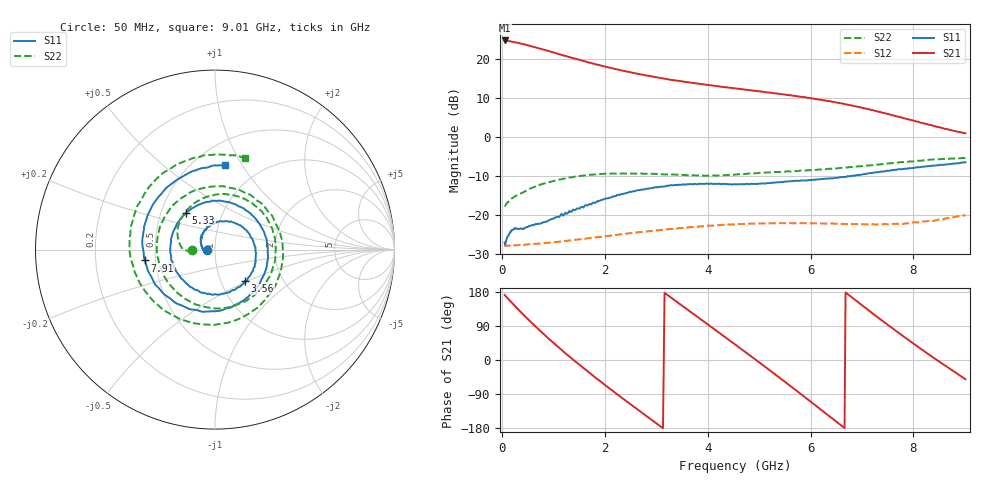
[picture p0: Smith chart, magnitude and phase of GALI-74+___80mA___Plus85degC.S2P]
! Mini-Circuits
! S2P DATA File Format
! Type: MMIC Amplifier
! Model: GALI-74+
! TEST CONDITIONS: INPUT POWER = -20dBm, Icc = 80mA, Vd = 4.70V @Temperature = +85degC
! 401 Frequency points
! S Parameters are in dB deg format
# MHz S DB R 50
!  FREQ  dB(S11)  PHS(S11)  dB(S21)  PHS(S21)  dB(S12)  PHS(S12)  dB(S22)  PHS(S22)
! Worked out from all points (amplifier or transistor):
!   401 points, 50 MHz to 9.01 GHz, reference 50 ohm
!   highest |S21| = 24.9 dB at 50 MHz (marker M1)
!   |S21| within 3 dB of that: start of sweep to 977.4 MHz
!   unconditionally stable (mu >= 1): start of sweep to end of sweep
!   at 870 MHz: K = 1.10, MAG = 22.9 dB, |S12| = -27.2 dB
!   at 4.01 GHz: K = 1.36, MAG = 14.5 dB, |S12| = -22.8 dB
!   at 9.01 GHz: K = 2.73, MAG = 3.3 dB, |S12| = -20.2 dB
!   S11 on the Smith chart (normalised r, x): 50 MHz: 0.92, -0.00; 3.56 GHz: 1.30, -0.49; 5.33 GHz: 0.67, +0.30; 7.91 GHz: 0.44, -0.06; 9.01 GHz: 0.70, +0.84
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50  -27.15 -178.3  24.88 171.7  -27.99 -3.1  -17.75 -179.7
330  -23.67 -179.7  24.20 131.2  -27.80 -17.7  -14.70 177.4
480  -23.15 175.0  23.72 110.7  -27.64 -25.8  -13.76 167.7
620  -22.59 169.0  23.23 92.4  -27.53 -33.8  -12.86 156.6
855  -21.82 159.4  22.35 62.7  -27.28 -47.6  -11.87 137.1
1080  -20.50 147.4  21.47 35.6  -26.95 -61.1  -11.05 116.5
1310  -19.01 132.7  20.59 8.9  -26.61 -75.4  -10.43 95.6
1560  -18.03 115.2  19.69 -18.8  -26.23 -91.1  -9.93 73.3
1880  -16.52 90.0  18.57 -52.8  -25.71 -112.3  -9.55 45.4
2210  -15.19 63.0  17.49 -87.4  -25.23 -134.8  -9.43 17.0
2630  -13.73 30.9  16.33 -130.1  -24.57 -165.0  -9.42 -19.2
3060  -12.78 -4.3  15.26 -173.1  -23.94 162.7  -9.52 -57.4
3560  -12.29 -46.7  14.19 137.8  -23.38 123.9  -9.78 -101.6
4030  -12.10 -90.0  13.38 91.1  -22.80 85.2  -9.91 -146.7
4530  -12.15 -141.2  12.56 41.3  -22.49 42.0  -9.69 162.9
4930  -12.08 173.7  11.90 1.0  -22.25 6.1  -9.30 122.3
5330  -11.66 128.1  11.24 -39.9  -22.16 -30.7  -8.98 81.5
6030  -11.01 46.8  9.95 -113.1  -22.20 -98.1  -8.46 6.8
6660  -10.26 -29.4  8.50 -179.6  -22.33 -161.3  -7.87 -62.9
7530  -8.66 -130.2  5.86 89.9  -22.46 112.4  -6.76 -156.3
7910  -8.05 -171.2  4.54 52.0  -22.21 76.7  -6.32 166.4
9010  -6.49 83.4  0.96 -50.6  -20.17 -24.3  -5.39 71.8
